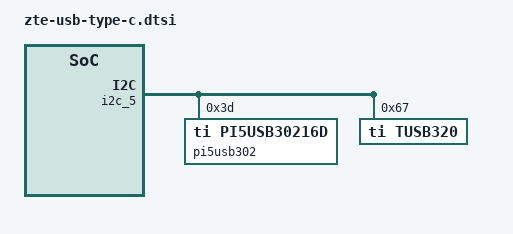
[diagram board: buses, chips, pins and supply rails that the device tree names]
/**
 * Copyright (c) 2016, The Linux Foundation. All rights reserved.
 *
 * This program is free software; you can redistribute it and/or modify
 * it under the terms of the GNU General Public License version 2 and
 * only version 2 as published by the Free Software Foundation.
 *
 * This program is distributed in the hope that it will be useful,
 * but WITHOUT ANY WARRANTY; without even the implied warranty of
 * MERCHANTABILITY or FITNESS FOR A PARTICULAR PURPOSE.  See the
 * GNU General Public License for more details.
 */

/*
* device tree for zte
*/
/* Segment 1: Type-C Chips main DTS config */

&i2c_5 {

	pi5usb302@3D {
		compatible = "ti,PI5USB30216D";
		reg = <0x3D>;
		status = "okay";
		pinctrl-names = "PI5USB30216D_intpin", "PI5USB30216D_enpin_output0", "PI5USB30216D_enpin_output1";
		pinctrl-0 = <&typec_intpin_cfg>;
		pinctrl-1 = <&typec_enpin_output0>;
		pinctrl-2 = <&typec_enpin_output1>;

	eint_PI5USB30216D@9 {
			compatible = "ti,PI5USB30216D_eint";
			pi5usb,irq_gpio = <&tlmm 9 0x2>;
		};
	};

	tusb320@67 {
		compatible = "ti,tusb320";
		reg = <0x67>;
		status = "okay";
		pinctrl-names = "tusb320_intpin", "tusb320_enpin_output0", "tusb320_enpin_output1";
		pinctrl-0 = <&typec_intpin_cfg>;
		pinctrl-1 = <&typec_enpin_output0>;
		pinctrl-2 = <&typec_enpin_output1>;

	eint_tusb320@9 {
			compatible = "ti,tusb320_eint";
			tusb320,irq_gpio = <&tlmm 9 0x2>;
		};
	};

};
